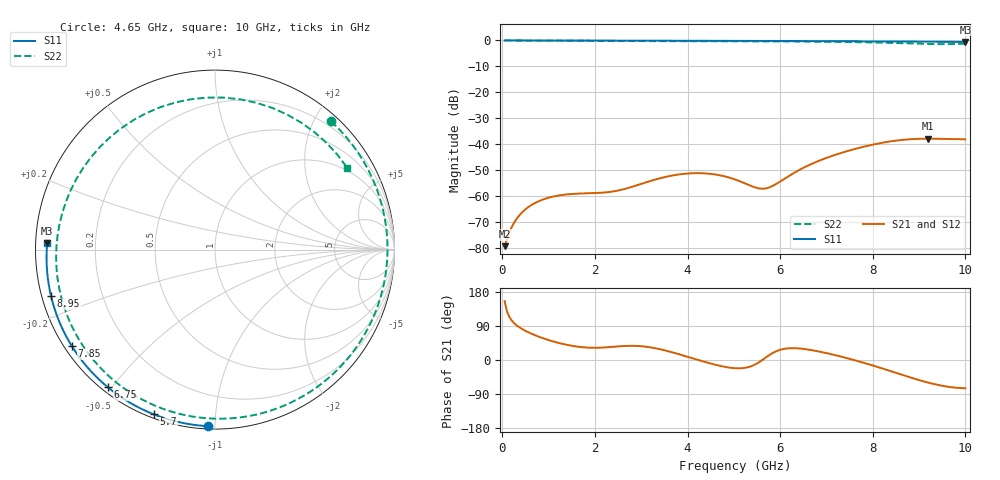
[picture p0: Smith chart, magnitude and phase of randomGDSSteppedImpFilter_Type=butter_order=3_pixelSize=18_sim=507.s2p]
! freq	dB(S11)	phase(S11)	dB(S12)	phase(S12)
!  dB(S21)	phase(S21)	dB(S22)	phase(S22)
!S-par simulation data
#  GHz  S  DB  R 50
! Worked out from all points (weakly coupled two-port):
!   200 points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, 50 MHz to 10 GHz, reference 50 ohm
!   highest |S21| = -37.89 dB at 9.2 GHz (marker M1); lowest = -79.3 dB at 50 MHz (marker M2)
!   lowest |S11| = -0.6 dB at 10 GHz (marker M3), VSWR 30.09, Z = 1.66 + j0.914 ohm
!   |S11| at or under -10 dB: nowhere
!   |S22| runs from -1.4 to 0.0 dB; largest |S21 - S12| = 0
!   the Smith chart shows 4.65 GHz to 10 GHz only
!   S11 on the Smith chart (normalised r, x): 4.65 GHz: 0.01, -0.96; 5.7 GHz: 0.02, -0.69; 6.75 GHz: 0.02, -0.49; 7.85 GHz: 0.02, -0.31; 8.95 GHz: 0.03, -0.14; 10 GHz: 0.03, +0.02
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0.05  -0.00 -1.1  -79.34 155.3  -79.34 155.3  -0.00 -3.0
0.25  -0.00 -5.4  -70.43 97.9  -70.43 97.9  -0.01 -15.2
0.6  -0.01 -12.8  -63.80 71.1  -63.80 71.1  -0.04 -36.4
1.2  -0.03 -25.4  -59.85 45.5  -59.85 45.5  -0.09 -72.8
1.75  -0.05 -36.8  -59.00 33.5  -59.00 33.5  -0.14 -106.9
2.15  -0.06 -44.9  -58.72 32.7  -58.72 32.7  -0.17 -132.6
2.65  -0.07 -54.8  -57.24 37.1  -57.24 37.1  -0.21 -166.1
3  -0.08 -61.7  -55.32 36.4  -55.32 36.4  -0.23 169.3
3.4  -0.09 -69.3  -53.17 28.6  -53.17 28.6  -0.26 140.1
4  -0.11 -80.5  -51.32 8.5  -51.32 8.5  -0.30 95.2
4.65  -0.13 -92.2  -51.84 -14.0  -51.84 -14.0  -0.32 47.9
5.05  -0.15 -99.3  -53.76 -21.8  -53.76 -21.8  -0.33 20.9
5.7  -0.18 -110.4  -57.02 7.5  -57.02 7.5  -0.36 -18.7
6.7  -0.25 -127.1  -47.45 25.7  -47.45 25.7  -0.45 -71.0
6.75  -0.25 -127.9  -47.06 24.6  -47.06 24.6  -0.46 -73.4
7.3  -0.29 -137.0  -43.48 9.4  -43.48 9.4  -0.56 -100.4
7.85  -0.34 -145.9  -40.79 -9.0  -40.79 -9.0  -0.72 -129.0
8.35  -0.39 -154.1  -39.02 -27.9  -39.02 -27.9  -0.92 -159.2
8.95  -0.45 -164.1  -37.97 -51.2  -37.97 -51.2  -1.24 153.1
9.2  -0.48 -168.3  -37.89 -59.8  -37.89 -59.8  -1.36 127.7
9.6  -0.53 -175.1  -38.03 -70.1  -38.03 -70.1  -1.42 80.6
10  -0.58 177.9  -38.12 -74.5  -38.12 -74.5  -1.25 31.6
